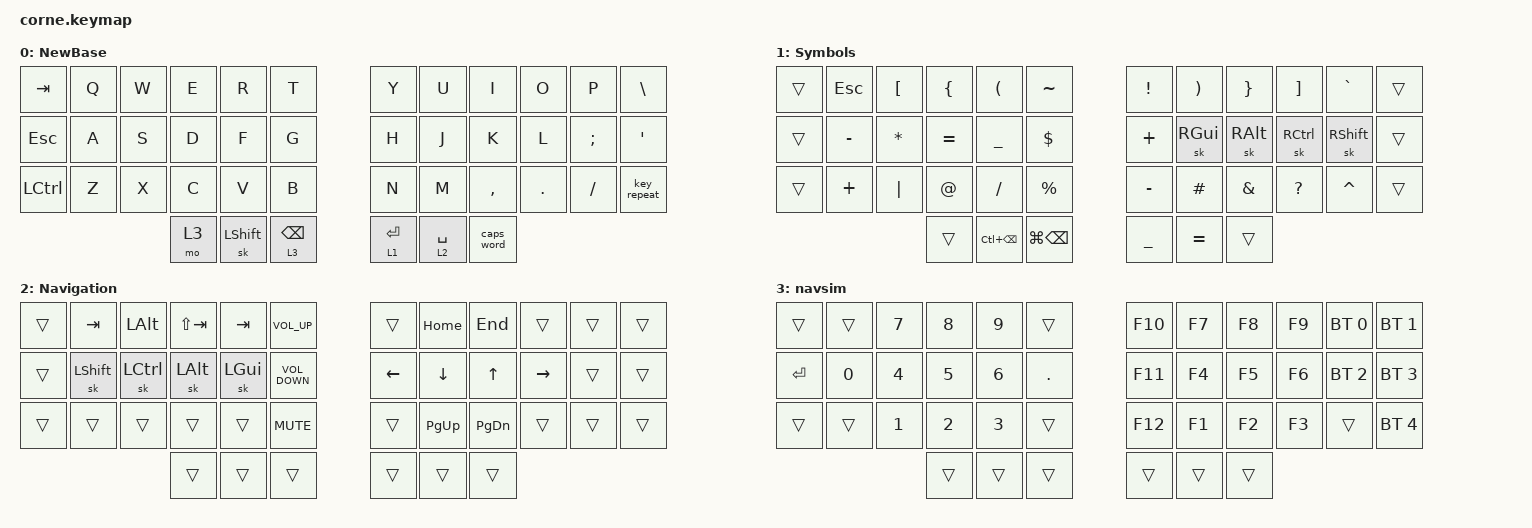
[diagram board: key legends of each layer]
/*
 * Copyright (c) 2020 The ZMK Contributors
 *
 * SPDX-License-Identifier: MIT
 */

#include <behaviors.dtsi>
#include <dt-bindings/zmk/bt.h>
#include <dt-bindings/zmk/keys.h>

/ {
    combos {
        compatible = "zmk,combos";

        capsword {
            bindings = <&caps_word>;
            key-positions = <16 19>;
        };
    };

    keymap {
        compatible = "zmk,keymap";

        NewBase {
            bindings = <
&kp TAB    &kp Q  &kp W  &kp E  &kp R           &kp T              &kp Y         &kp U        &kp I       &kp O    &kp P     &kp BSLH
&kp ESC    &kp A  &kp S  &kp D  &kp F           &kp G              &kp H         &kp J        &kp K       &kp L    &kp SEMI  &kp SQT
&kp LCTRL  &kp Z  &kp X  &kp C  &kp V           &kp B              &kp N         &kp M        &kp COMMA   &kp DOT  &kp FSLH  &key_repeat
                         &mo 3  &sk LEFT_SHIFT  &lt 3 BACKSPACE    &lt 1 RETURN  &lt 2 SPACE  &caps_word
            >;
        };

        Symbols {
            bindings = <
&trans  &kp ESC    &kp LBKT   &kp LEFT_BRACE  &kp LEFT_PARENTHESIS  &kp TILDE            &kp EXCL        &kp RIGHT_PARENTHESIS  &kp RIGHT_BRACE  &kp RBKT      &kp GRAVE        &trans
&trans  &kp MINUS  &kp ASTRK  &kp EQUAL       &kp UNDERSCORE        &kp DOLLAR           &kp PLUS        &sk RIGHT_GUI          &sk RIGHT_ALT    &sk RCTRL     &sk RIGHT_SHIFT  &trans
&trans  &kp PLUS   &kp PIPE   &kp AT          &kp FSLH              &kp PERCENT          &kp MINUS       &kp POUND              &kp AMPERSAND    &kp QUESTION  &kp CARET        &trans
                              &trans          &kp LC(BACKSPACE)     &kp LG(BACKSPACE)    &kp UNDERSCORE  &kp EQUAL              &trans
            >;
        };

        Navigation {
            bindings = <
&trans  &kp TAB         &kp LALT   &kp LS(TAB)   &kp TAB       &kp C_VOLUME_UP      &trans    &kp HOME     &kp END        &trans     &trans  &trans
&trans  &sk LEFT_SHIFT  &sk LCTRL  &sk LEFT_ALT  &sk LEFT_GUI  &kp C_VOLUME_DOWN    &kp LEFT  &kp DOWN     &kp UP         &kp RIGHT  &trans  &trans
&trans  &trans          &trans     &trans        &trans        &kp C_MUTE           &trans    &kp PAGE_UP  &kp PAGE_DOWN  &trans     &trans  &trans
                                   &trans        &trans        &trans               &trans    &trans       &trans
            >;
        };

        navsim {
            bindings = <
&trans   &trans  &kp N7  &kp N8  &kp N9  &trans     &kp F10  &kp F7  &kp F8  &kp F9  &bt BT_SEL 0  &bt BT_SEL 1
&kp RET  &kp N0  &kp N4  &kp N5  &kp N6  &kp DOT    &kp F11  &kp F4  &kp F5  &kp F6  &bt BT_SEL 2  &bt BT_SEL 3
&trans   &trans  &kp N1  &kp N2  &kp N3  &trans     &kp F12  &kp F1  &kp F2  &kp F3  &trans        &bt BT_SEL 4
                         &trans  &trans  &trans     &trans   &trans  &trans
            >;
        };
    };
};

